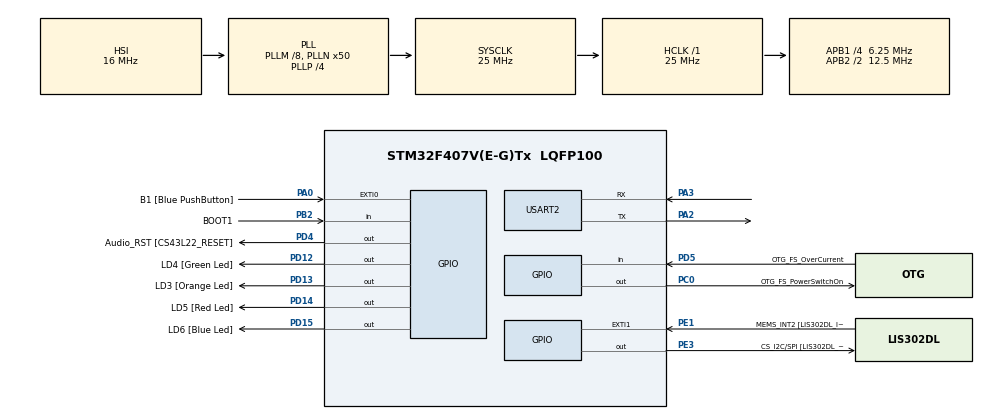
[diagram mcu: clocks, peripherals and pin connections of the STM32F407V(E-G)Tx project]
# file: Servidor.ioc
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Dma.Request0=USART2_TX
Dma.USART2_TX.0.Direction=DMA_MEMORY_TO_PERIPH
Dma.USART2_TX.0.FIFOMode=DMA_FIFOMODE_DISABLE
Dma.USART2_TX.0.Instance=DMA1_Stream6
Dma.USART2_TX.0.MemDataAlignment=DMA_MDATAALIGN_BYTE
Dma.USART2_TX.0.MemInc=DMA_MINC_ENABLE
Dma.USART2_TX.0.Mode=DMA_NORMAL
Dma.USART2_TX.0.PeriphDataAlignment=DMA_PDATAALIGN_BYTE
Dma.USART2_TX.0.PeriphInc=DMA_PINC_DISABLE
Dma.USART2_TX.0.Priority=DMA_PRIORITY_LOW
Mcu.Family=STM32F4
Mcu.Name=STM32F407V(E-G)Tx
Mcu.Package=LQFP100
NVIC.DMA1_Stream6_IRQn=true\:0\:0\:false\:false\:true\:false\:true\:true
NVIC.EXTI0_IRQn=true\:0\:0\:false\:false\:true\:true\:true\:true
NVIC.PriorityGroup=NVIC_PRIORITYGROUP_0
NVIC.USART2_IRQn=true\:0\:0\:false\:false\:true\:true\:true\:true
PA0-WKUP.GPIO_Label=B1 [Blue PushButton]
PA0-WKUP.GPIO_ModeDefaultEXTI=GPIO_MODE_IT_RISING_FALLING
PA0-WKUP.Signal=GPXTI0
PA10.GPIO_Label=OTG_FS_ID
PA10.GPIO_Mode=GPIO_MODE_AF_PP
PA10.GPIO_PuPd=GPIO_NOPULL
PA10.GPIO_Speed=GPIO_SPEED_FREQ_LOW
PA10.Signal=USB_OTG_FS_ID
PA11.GPIO_Label=OTG_FS_DM
PA11.GPIO_Mode=GPIO_MODE_AF_PP
PA11.GPIO_PuPd=GPIO_NOPULL
PA11.GPIO_Speed=GPIO_SPEED_FREQ_LOW
PA11.Signal=USB_OTG_FS_DM
PA12.GPIO_Label=OTG_FS_DP
PA12.GPIO_Mode=GPIO_MODE_AF_PP
PA12.GPIO_PuPd=GPIO_NOPULL
PA12.GPIO_Speed=GPIO_SPEED_FREQ_LOW
PA12.Signal=USB_OTG_FS_DP
PA13.GPIO_Label=SWDIO
PA13.Signal=SYS_JTMS-SWDIO
PA14.GPIO_Label=SWCLK
PA14.Signal=SYS_JTCK-SWCLK
PA2.Mode=Asynchronous
PA2.Signal=USART2_TX
PA3.Mode=Asynchronous
PA3.Signal=USART2_RX
PA4.GPIO_Label=I2S3_WS [CS43L22_LRCK]
PA4.GPIO_Mode=GPIO_MODE_AF_PP
PA4.GPIO_PuPd=GPIO_NOPULL
PA4.GPIO_Speed=GPIO_SPEED_FREQ_LOW
PA4.Signal=I2S3_WS
PA5.GPIO_Label=SPI1_SCK [LIS302DL_SCL/SPC]
PA5.GPIO_Mode=GPIO_MODE_AF_PP
PA5.GPIO_PuPd=GPIO_NOPULL
PA5.GPIO_Speed=GPIO_SPEED_FREQ_LOW
PA5.Signal=SPI1_SCK
PA6.GPIO_Label=SPI1_MISO [LIS302DL_SDO]
PA6.GPIO_Mode=GPIO_MODE_AF_PP
PA6.GPIO_PuPd=GPIO_NOPULL
PA6.GPIO_Speed=GPIO_SPEED_FREQ_LOW
PA6.Signal=SPI1_MISO
PA7.GPIO_Label=SPI1_MOSI [LIS302DL_SDA/SDI/SDO]
PA7.GPIO_Mode=GPIO_MODE_AF_PP
PA7.GPIO_PuPd=GPIO_NOPULL
PA7.GPIO_Speed=GPIO_SPEED_FREQ_LOW
PA7.Signal=SPI1_MOSI
PA9.GPIO_Label=VBUS_FS
PA9.GPIO_Mode=GPIO_MODE_INPUT
PA9.GPIO_PuPd=GPIO_NOPULL
PA9.Signal=USB_OTG_FS_VBUS
PB10.GPIO_Label=CLK_IN [MP45DT02_CLK]
PB10.GPIO_Mode=GPIO_MODE_AF_PP
PB10.GPIO_PuPd=GPIO_NOPULL
PB10.GPIO_Speed=GPIO_SPEED_FREQ_LOW
PB10.Signal=I2S2_CK
PB2.GPIO_Label=BOOT1
PB2.GPIO_Mode=GPIO_MODE_INPUT
PB2.GPIO_PuPd=GPIO_NOPULL
PB2.Signal=GPIO_Input
PB3.GPIO_Label=SWO
PB3.Signal=SYS_JTDO-SWO
PB6.GPIO_Label=Audio_SCL [CS43L22_SCL]
PB6.GPIO_Mode=GPIO_MODE_AF_OD
PB6.GPIO_PuPd=GPIO_NOPULL
PB6.GPIO_Speed=GPIO_SPEED_FREQ_LOW
PB6.Signal=I2C1_SCL
PB9.GPIO_Label=Audio_SDA [CS43L22_SDA]
PB9.GPIO_Mode=GPIO_MODE_AF_OD
PB9.GPIO_PuPd=GPIO_NOPULL
PB9.GPIO_Speed=GPIO_SPEED_FREQ_LOW
PB9.Signal=I2C1_SDA
PC0.GPIO_Label=OTG_FS_PowerSwitchOn
PC0.GPIO_PuPd=GPIO_NOPULL
PC0.GPIO_Speed=GPIO_SPEED_FREQ_LOW
PC0.PinState=GPIO_PIN_SET
PC0.Signal=GPIO_Output
PC10.GPIO_Label=I2S3_SCK [CS43L22_SCLK]
PC10.GPIO_Mode=GPIO_MODE_AF_PP
PC10.GPIO_PuPd=GPIO_NOPULL
PC10.GPIO_Speed=GPIO_SPEED_FREQ_LOW
PC10.Signal=I2S3_CK
PC12.GPIO_Label=I2S3_SD [CS43L22_SDIN]
PC12.GPIO_Mode=GPIO_MODE_AF_PP
PC12.GPIO_PuPd=GPIO_NOPULL
PC12.GPIO_Speed=GPIO_SPEED_FREQ_LOW
PC12.Signal=I2S3_SD
PC14-OSC32_IN.GPIO_Label=PC14-OSC32_IN
PC14-OSC32_IN.Signal=RCC_OSC32_IN
PC15-OSC32_OUT.GPIO_Label=PC15-OSC32_OUT
PC15-OSC32_OUT.Signal=RCC_OSC32_OUT
PC3.GPIO_Label=PDM_OUT [MP45DT02_DOUT]
PC3.GPIO_Mode=GPIO_MODE_AF_PP
PC3.GPIO_PuPd=GPIO_NOPULL
PC3.GPIO_Speed=GPIO_SPEED_FREQ_LOW
PC3.Signal=I2S2_SD
PC7.GPIO_Label=I2S3_MCK [CS43L22_MCLK]
PC7.GPIO_Mode=GPIO_MODE_AF_PP
PC7.GPIO_PuPd=GPIO_NOPULL
PC7.GPIO_Speed=GPIO_SPEED_FREQ_LOW
PC7.Signal=I2S3_MCK
PD12.GPIO_Label=LD4 [Green Led]
PD12.GPIO_PuPd=GPIO_NOPULL
PD12.GPIO_Speed=GPIO_SPEED_FREQ_LOW
PD12.Signal=GPIO_Output
PD13.GPIO_Label=LD3 [Orange Led]
PD13.GPIO_PuPd=GPIO_NOPULL
PD13.GPIO_Speed=GPIO_SPEED_FREQ_LOW
PD13.Signal=GPIO_Output
PD14.GPIO_Label=LD5 [Red Led]
PD14.GPIO_PuPd=GPIO_NOPULL
PD14.GPIO_Speed=GPIO_SPEED_FREQ_LOW
PD14.Signal=GPIO_Output
PD15.GPIO_Label=LD6 [Blue Led]
PD15.GPIO_PuPd=GPIO_NOPULL
PD15.GPIO_Speed=GPIO_SPEED_FREQ_LOW
PD15.Signal=GPIO_Output
PD4.GPIO_Label=Audio_RST [CS43L22_RESET]
PD4.GPIO_PuPd=GPIO_NOPULL
PD4.GPIO_Speed=GPIO_SPEED_FREQ_LOW
PD4.Signal=GPIO_Output
PD5.GPIO_Label=OTG_FS_OverCurrent
PD5.GPIO_Mode=GPIO_MODE_INPUT
PD5.GPIO_PuPd=GPIO_NOPULL
PD5.Signal=GPIO_Input
PE1.GPIO_Label=MEMS_INT2 [LIS302DL_INT2]
PE1.GPIO_ModeDefaultEXTI=GPIO_MODE_EVT_RISING
PE1.GPIO_PuPd=GPIO_NOPULL
PE1.Signal=GPXTI1
PE3.GPIO_Label=CS_I2C/SPI [LIS302DL_CS_I2C/SPI]
PE3.GPIO_PuPd=GPIO_NOPULL
PE3.GPIO_Speed=GPIO_SPEED_FREQ_LOW
PE3.Signal=GPIO_Output
PH0-OSC_IN.GPIO_Label=PH0-OSC_IN
PH0-OSC_IN.Signal=RCC_OSC_IN
PH1-OSC_OUT.GPIO_Label=PH1-OSC_OUT
PH1-OSC_OUT.Signal=RCC_OSC_OUT
ProjectManager.HeapSize=0x200
ProjectManager.StackSize=0x400
ProjectManager.TargetToolchain=STM32CubeIDE
RCC.48MHZClocksFreq_Value=14285714.285714285
RCC.AHBFreq_Value=25000000
RCC.APB1CLKDivider=RCC_HCLK_DIV4
RCC.APB1Freq_Value=6250000
RCC.APB1TimFreq_Value=12500000
RCC.APB2CLKDivider=RCC_HCLK_DIV2
RCC.APB2Freq_Value=12500000
RCC.APB2TimFreq_Value=25000000
RCC.CortexFreq_Value=25000000
RCC.HCLKFreq_Value=25000000
RCC.HSE_VALUE=8000000
RCC.HSI_VALUE=16000000
RCC.LSE_VALUE=32768
RCC.PLLM=8
RCC.PLLN=50
RCC.PLLP=RCC_PLLP_DIV4
RCC.PLLQ=7
RCC.SYSCLKFreq_VALUE=25000000
RCC.SYSCLKSource=RCC_SYSCLKSOURCE_PLLCLK
RCC.VCOOutputFreq_Value=100000000
USART2.VirtualMode=VM_ASYNC
board=STM32F407G-DISC1

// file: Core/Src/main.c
/* USER CODE BEGIN Header */
/**
  ******************************************************************************
  * @file           : main.c
  * @brief          : Main program body
  ******************************************************************************
  * @attention
  *
  * Copyright (c) 2026 STMicroelectronics.
  * All rights reserved.
  *
  * This software is licensed under terms that can be found in the LICENSE file
  * in the root directory of this software component.
  * If no LICENSE file comes with this software, it is provided AS-IS.
  *
  ******************************************************************************
  */
/* USER CODE END Header */
#include "main.h"

/* USER CODE BEGIN Includes */
#include <stdio.h>
#include <string.h>
/* USER CODE END Includes */

/* USER CODE BEGIN PD */
#define CMD_COLETA                 0x5A
#define TABELA_TAM                 100
#define DEBOUNCE_PLUVIOMETRO_MS    1000     // filtra o repique do contato do botao
#define PAUSA_ENTRE_ENVIOS_MS      5      // folga entre o contador e a tabela
/* USER CODE END PD */

UART_HandleTypeDef huart2;
DMA_HandleTypeDef hdma_usart2_tx;

/* USER CODE BEGIN PV */
volatile uint8_t  contador = 0;              // basculadas desde a ultima coleta (satura em 255)
volatile uint32_t ultimo_evento_ms = 0;  // instante da ultima borda do botao (apertar ou soltar)

uint8_t  comando_recebido = 0;
uint8_t  valor_contador_tx = 0;

volatile uint8_t  aguardando_envio_tabela = 0;   // contador esta saindo; a tabela vem depois
volatile uint8_t  tabela_pendente = 0;
volatile uint32_t t_contador_enviado = 0;

char tabela_equipe[TABELA_TAM];              // tabela de talhoes (tamanho fixo)
/* USER CODE END PV */

void SystemClock_Config(void);
static void MX_GPIO_Init(void);
static void MX_DMA_Init(void);
static void MX_USART2_UART_Init(void);

/* USER CODE BEGIN 0 */
/* Interrupcao externa: uma "basculada" do pluviometro (botao azul).
   O EXTI dispara na subida E na descida; so conta ao APERTAR, e qualquer borda
   (inclusive o tremor ao soltar) reinicia a janela de 50 ms. */
void HAL_GPIO_EXTI_Callback(uint16_t GPIO_Pin)
{
  if (GPIO_Pin == GPIO_PIN_0)
  {
    uint32_t agora = HAL_GetTick();
    if ((agora - ultimo_evento_ms) >= DEBOUNCE_PLUVIOMETRO_MS)   // contato quieto ha 50 ms
    {
      if (HAL_GPIO_ReadPin(GPIOA, GPIO_PIN_0) == GPIO_PIN_SET)   // nivel alto = botao apertado
      {
        if (contador < 255) contador++;
      }
    }
    ultimo_evento_ms = agora;
  }
}

/* Chegou 1 byte da central */
void HAL_UART_RxCpltCallback(UART_HandleTypeDef *huart)
{
  if (huart->Instance == USART2)
  {
    if (comando_recebido == CMD_COLETA)
    {
      valor_contador_tx = contador;                  // foto do contador
      contador = 0;                                  // zera para a proxima rodada
      aguardando_envio_tabela = 1;
      HAL_UART_Transmit_IT(&huart2, &valor_contador_tx, 1);   // 1) contador, por interrupcao
    }
    HAL_UART_Receive_IT(&huart2, &comando_recebido, 1);       // volta a escutar a central
  }
}

/* Terminou uma transmissao na USART2 */
void HAL_UART_TxCpltCallback(UART_HandleTypeDef *huart)
{
  if (huart->Instance == USART2 && aguardando_envio_tabela)
  {
    aguardando_envio_tabela = 0;                     // o contador ja saiu
    t_contador_enviado = HAL_GetTick();
    tabela_pendente = 1;                             // a tabela sai no laco principal
  }
}
/* USER CODE END 0 */

int main(void)
{

  /* MCU Configuration--------------------------------------------------------*/

  /* Reset of all peripherals, Initializes the Flash interface and the Systick. */
  HAL_Init();

  /* Configure the system clock */
  SystemClock_Config();

  /* Initialize all configured peripherals */
  MX_GPIO_Init();
  MX_DMA_Init();
  MX_USART2_UART_Init();
  /* USER CODE BEGIN 2 */
  /* Monta a tabela de talhoes uma unica vez; completa com espacos para ter tamanho fixo */
  snprintf(tabela_equipe, TABELA_TAM,
           "Talhao 1, Soja, 10 mm\r\n"
           "Talhao 2, Milho, 8 mm\r\n"
           "Talhao 3, Cafe, 12 mm\r\n");
  for (int i = (int)strlen(tabela_equipe); i < TABELA_TAM - 1; i++)
  {
    tabela_equipe[i] = ' ';
  }
  tabela_equipe[TABELA_TAM - 1] = '\0';

  HAL_UART_Receive_IT(&huart2, &comando_recebido, 1);  // ja fica escutando o 0x5A da central
  /* USER CODE END 2 */

  /* Infinite loop */
  while (1)
  {

    /* USER CODE BEGIN 3 */
	  /* 2) Tabela por DMA, 5 ms depois do contador (da tempo da central armar o DMA de recepcao) */
	  if (tabela_pendente && (HAL_GetTick() - t_contador_enviado) >= PAUSA_ENTRE_ENVIOS_MS)
	  {
	    tabela_pendente = 0;
	    HAL_UART_Transmit_DMA(&huart2, (uint8_t *)tabela_equipe, TABELA_TAM);
	  }
  }
  /* USER CODE END 3 */
}

void SystemClock_Config(void)
{
  RCC_OscInitTypeDef RCC_OscInitStruct = {0};
  RCC_ClkInitTypeDef RCC_ClkInitStruct = {0};

  /** Configure the main internal regulator output voltage
  */
  __HAL_RCC_PWR_CLK_ENABLE();
  __HAL_PWR_VOLTAGESCALING_CONFIG(PWR_REGULATOR_VOLTAGE_SCALE1);

  /** Initializes the RCC Oscillators according to the specified parameters
  * in the RCC_OscInitTypeDef structure.
  */
  RCC_OscInitStruct.OscillatorType = RCC_OSCILLATORTYPE_HSI;
  RCC_OscInitStruct.HSIState = RCC_HSI_ON;
  RCC_OscInitStruct.HSICalibrationValue = RCC_HSICALIBRATION_DEFAULT;
  RCC_OscInitStruct.PLL.PLLState = RCC_PLL_ON;
  RCC_OscInitStruct.PLL.PLLSource = RCC_PLLSOURCE_HSI;
  RCC_OscInitStruct.PLL.PLLM = 8;
  RCC_OscInitStruct.PLL.PLLN = 50;
  RCC_OscInitStruct.PLL.PLLP = RCC_PLLP_DIV4;
  RCC_OscInitStruct.PLL.PLLQ = 7;
  if (HAL_RCC_OscConfig(&RCC_OscInitStruct) != HAL_OK)
  {
    Error_Handler();
  }

  /** Initializes the CPU, AHB and APB buses clocks
  */
  RCC_ClkInitStruct.ClockType = RCC_CLOCKTYPE_HCLK|RCC_CLOCKTYPE_SYSCLK
                              |RCC_CLOCKTYPE_PCLK1|RCC_CLOCKTYPE_PCLK2;
  RCC_ClkInitStruct.SYSCLKSource = RCC_SYSCLKSOURCE_PLLCLK;
  RCC_ClkInitStruct.AHBCLKDivider = RCC_SYSCLK_DIV1;
  RCC_ClkInitStruct.APB1CLKDivider = RCC_HCLK_DIV4;
  RCC_ClkInitStruct.APB2CLKDivider = RCC_HCLK_DIV2;

  if (HAL_RCC_ClockConfig(&RCC_ClkInitStruct, FLASH_LATENCY_0) != HAL_OK)
  {
    Error_Handler();
  }
}

static void MX_USART2_UART_Init(void)
{

  huart2.Instance = USART2;
  huart2.Init.BaudRate = 115200;
  huart2.Init.WordLength = UART_WORDLENGTH_8B;
  huart2.Init.StopBits = UART_STOPBITS_1;
  huart2.Init.Parity = UART_PARITY_NONE;
  huart2.Init.Mode = UART_MODE_TX_RX;
  huart2.Init.HwFlowCtl = UART_HWCONTROL_NONE;
  huart2.Init.OverSampling = UART_OVERSAMPLING_16;
  if (HAL_UART_Init(&huart2) != HAL_OK)
  {
    Error_Handler();
  }

}

static void MX_DMA_Init(void)
{

  /* DMA controller clock enable */
  __HAL_RCC_DMA1_CLK_ENABLE();

  /* DMA interrupt init */
  /* DMA1_Stream6_IRQn interrupt configuration */
  HAL_NVIC_SetPriority(DMA1_Stream6_IRQn, 0, 0);
  HAL_NVIC_EnableIRQ(DMA1_Stream6_IRQn);

}

static void MX_GPIO_Init(void)
{
  GPIO_InitTypeDef GPIO_InitStruct = {0};

  /* GPIO Ports Clock Enable */
  __HAL_RCC_GPIOE_CLK_ENABLE();
  __HAL_RCC_GPIOC_CLK_ENABLE();
  __HAL_RCC_GPIOH_CLK_ENABLE();
  __HAL_RCC_GPIOA_CLK_ENABLE();
  __HAL_RCC_GPIOB_CLK_ENABLE();
  __HAL_RCC_GPIOD_CLK_ENABLE();

  /*Configure GPIO pin Output Level */
  HAL_GPIO_WritePin(CS_I2C_SPI_GPIO_Port, CS_I2C_SPI_Pin, GPIO_PIN_RESET);

  /*Configure GPIO pin Output Level */
  HAL_GPIO_WritePin(OTG_FS_PowerSwitchOn_GPIO_Port, OTG_FS_PowerSwitchOn_Pin, GPIO_PIN_SET);

  /*Configure GPIO pin Output Level */
  HAL_GPIO_WritePin(GPIOD, LD4_Pin|LD3_Pin|LD5_Pin|LD6_Pin
                          |Audio_RST_Pin, GPIO_PIN_RESET);

  /*Configure GPIO pin : CS_I2C_SPI_Pin */
  GPIO_InitStruct.Pin = CS_I2C_SPI_Pin;
  GPIO_InitStruct.Mode = GPIO_MODE_OUTPUT_PP;
  GPIO_InitStruct.Pull = GPIO_NOPULL;
  GPIO_InitStruct.Speed = GPIO_SPEED_FREQ_LOW;
  HAL_GPIO_Init(CS_I2C_SPI_GPIO_Port, &GPIO_InitStruct);

  /*Configure GPIO pin : OTG_FS_PowerSwitchOn_Pin */
  GPIO_InitStruct.Pin = OTG_FS_PowerSwitchOn_Pin;
  GPIO_InitStruct.Mode = GPIO_MODE_OUTPUT_PP;
  GPIO_InitStruct.Pull = GPIO_NOPULL;
  GPIO_InitStruct.Speed = GPIO_SPEED_FREQ_LOW;
  HAL_GPIO_Init(OTG_FS_PowerSwitchOn_GPIO_Port, &GPIO_InitStruct);

  /*Configure GPIO pin : PDM_OUT_Pin */
  GPIO_InitStruct.Pin = PDM_OUT_Pin;
  GPIO_InitStruct.Mode = GPIO_MODE_AF_PP;
  GPIO_InitStruct.Pull = GPIO_NOPULL;
  GPIO_InitStruct.Speed = GPIO_SPEED_FREQ_LOW;
  GPIO_InitStruct.Alternate = GPIO_AF5_SPI2;
  HAL_GPIO_Init(PDM_OUT_GPIO_Port, &GPIO_InitStruct);

  /*Configure GPIO pin : B1_Pin */
  GPIO_InitStruct.Pin = B1_Pin;
  GPIO_InitStruct.Mode = GPIO_MODE_IT_RISING_FALLING;
  GPIO_InitStruct.Pull = GPIO_NOPULL;
  HAL_GPIO_Init(B1_GPIO_Port, &GPIO_InitStruct);

  /*Configure GPIO pin : I2S3_WS_Pin */
  GPIO_InitStruct.Pin = I2S3_WS_Pin;
  GPIO_InitStruct.Mode = GPIO_MODE_AF_PP;
  GPIO_InitStruct.Pull = GPIO_NOPULL;
  GPIO_InitStruct.Speed = GPIO_SPEED_FREQ_LOW;
  GPIO_InitStruct.Alternate = GPIO_AF6_SPI3;
  HAL_GPIO_Init(I2S3_WS_GPIO_Port, &GPIO_InitStruct);

  /*Configure GPIO pins : SPI1_SCK_Pin SPI1_MISO_Pin SPI1_MOSI_Pin */
  GPIO_InitStruct.Pin = SPI1_SCK_Pin|SPI1_MISO_Pin|SPI1_MOSI_Pin;
  GPIO_InitStruct.Mode = GPIO_MODE_AF_PP;
  GPIO_InitStruct.Pull = GPIO_NOPULL;
  GPIO_InitStruct.Speed = GPIO_SPEED_FREQ_LOW;
  GPIO_InitStruct.Alternate = GPIO_AF5_SPI1;
  HAL_GPIO_Init(GPIOA, &GPIO_InitStruct);

  /*Configure GPIO pin : BOOT1_Pin */
  GPIO_InitStruct.Pin = BOOT1_Pin;
  GPIO_InitStruct.Mode = GPIO_MODE_INPUT;
  GPIO_InitStruct.Pull = GPIO_NOPULL;
  HAL_GPIO_Init(BOOT1_GPIO_Port, &GPIO_InitStruct);

  /*Configure GPIO pin : CLK_IN_Pin */
  GPIO_InitStruct.Pin = CLK_IN_Pin;
  GPIO_InitStruct.Mode = GPIO_MODE_AF_PP;
  GPIO_InitStruct.Pull = GPIO_NOPULL;
  GPIO_InitStruct.Speed = GPIO_SPEED_FREQ_LOW;
  GPIO_InitStruct.Alternate = GPIO_AF5_SPI2;
  HAL_GPIO_Init(CLK_IN_GPIO_Port, &GPIO_InitStruct);

  /*Configure GPIO pins : LD4_Pin LD3_Pin LD5_Pin LD6_Pin
                           Audio_RST_Pin */
  GPIO_InitStruct.Pin = LD4_Pin|LD3_Pin|LD5_Pin|LD6_Pin
                          |Audio_RST_Pin;
  GPIO_InitStruct.Mode = GPIO_MODE_OUTPUT_PP;
  GPIO_InitStruct.Pull = GPIO_NOPULL;
  GPIO_InitStruct.Speed = GPIO_SPEED_FREQ_LOW;
  HAL_GPIO_Init(GPIOD, &GPIO_InitStruct);

  /*Configure GPIO pins : I2S3_MCK_Pin I2S3_SCK_Pin I2S3_SD_Pin */
  GPIO_InitStruct.Pin = I2S3_MCK_Pin|I2S3_SCK_Pin|I2S3_SD_Pin;
  GPIO_InitStruct.Mode = GPIO_MODE_AF_PP;
  GPIO_InitStruct.Pull = GPIO_NOPULL;
  GPIO_InitStruct.Speed = GPIO_SPEED_FREQ_LOW;
  GPIO_InitStruct.Alternate = GPIO_AF6_SPI3;
  HAL_GPIO_Init(GPIOC, &GPIO_InitStruct);

  /*Configure GPIO pin : VBUS_FS_Pin */
  GPIO_InitStruct.Pin = VBUS_FS_Pin;
  GPIO_InitStruct.Mode = GPIO_MODE_INPUT;
  GPIO_InitStruct.Pull = GPIO_NOPULL;
  HAL_GPIO_Init(VBUS_FS_GPIO_Port, &GPIO_InitStruct);

  /*Configure GPIO pins : OTG_FS_ID_Pin OTG_FS_DM_Pin OTG_FS_DP_Pin */
  GPIO_InitStruct.Pin = OTG_FS_ID_Pin|OTG_FS_DM_Pin|OTG_FS_DP_Pin;
  GPIO_InitStruct.Mode = GPIO_MODE_AF_PP;
  GPIO_InitStruct.Pull = GPIO_NOPULL;
  GPIO_InitStruct.Speed = GPIO_SPEED_FREQ_LOW;
  GPIO_InitStruct.Alternate = GPIO_AF10_OTG_FS;
  HAL_GPIO_Init(GPIOA, &GPIO_InitStruct);

  /*Configure GPIO pin : OTG_FS_OverCurrent_Pin */
  GPIO_InitStruct.Pin = OTG_FS_OverCurrent_Pin;
  GPIO_InitStruct.Mode = GPIO_MODE_INPUT;
  GPIO_InitStruct.Pull = GPIO_NOPULL;
  HAL_GPIO_Init(OTG_FS_OverCurrent_GPIO_Port, &GPIO_InitStruct);

  /*Configure GPIO pins : Audio_SCL_Pin Audio_SDA_Pin */
  GPIO_InitStruct.Pin = Audio_SCL_Pin|Audio_SDA_Pin;
  GPIO_InitStruct.Mode = GPIO_MODE_AF_OD;
  GPIO_InitStruct.Pull = GPIO_NOPULL;
  GPIO_InitStruct.Speed = GPIO_SPEED_FREQ_LOW;
  GPIO_InitStruct.Alternate = GPIO_AF4_I2C1;
  HAL_GPIO_Init(GPIOB, &GPIO_InitStruct);

  /*Configure GPIO pin : MEMS_INT2_Pin */
  GPIO_InitStruct.Pin = MEMS_INT2_Pin;
  GPIO_InitStruct.Mode = GPIO_MODE_EVT_RISING;
  GPIO_InitStruct.Pull = GPIO_NOPULL;
  HAL_GPIO_Init(MEMS_INT2_GPIO_Port, &GPIO_InitStruct);

  /* EXTI interrupt init*/
  HAL_NVIC_SetPriority(EXTI0_IRQn, 0, 0);
  HAL_NVIC_EnableIRQ(EXTI0_IRQn);

}

void Error_Handler(void)
{
  __disable_irq();
  while (1)
  {
  }
}
